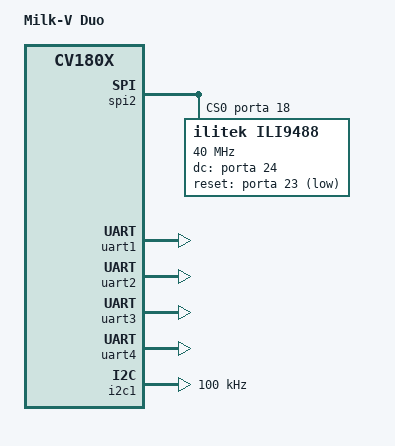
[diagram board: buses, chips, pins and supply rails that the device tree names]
/dts-v1/;
#include "cv180x_base_riscv.dtsi"
#include "cv180x_asic_qfn.dtsi"
#include "cv180x_asic_sd.dtsi"
#include "cv180x_default_memmap.dtsi"

&mipi_rx{
	snsr-reset = <&portc 8 GPIO_ACTIVE_LOW>, <&portc 8 GPIO_ACTIVE_LOW>, <&portc 8 GPIO_ACTIVE_LOW>;
};

&spi2 {
	status = "okay";
        cs-gpios = <&porta 18 0>;

        spidev@0 {
                status = "disabled";
        };

        ili9488: ili9488@0{
                compatible = "ilitek,ili9488";
                reg = <0>;
                status = "okay";
                spi-max-frequency = <40000000>;
                spi-cpol;
                spi-cpha;
                rotate = <90>; //This depends on your screen
                fps = <60>;
                rgb;
                buswidth = <8>;
                dc-gpios = <&porta 24 GPIO_ACTIVE_HIGH>;
                reset-gpios = <&porta 23 GPIO_ACTIVE_LOW>;
                debug = <0x4000000>;
        };
};

&uart1 {
	status = "okay";
};

&uart2 {
	status = "okay";
};

&uart3 {
	status = "okay";
};

&uart4 {
	status = "okay";
};

&i2c1 {
       status = "okay";
       clock-frequency = <100000>;
};

/ {
	model = "Milk-V Duo";
};

